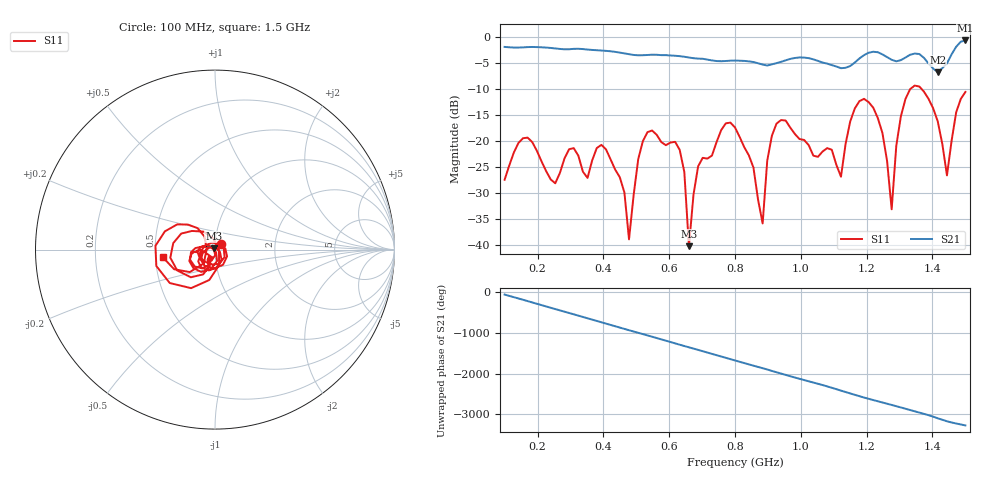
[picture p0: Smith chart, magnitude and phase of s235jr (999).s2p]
! NanoVNA-App
! Date: 2025-09-25 15:11:56
! Start: 100MHz Stop: 1,5GHz Points: 101
! S-Parameter data: F S11 S21 S12 S22
# Hz S RI R 50
!  Frequency  S11_Real  S11_Imag  S21_Real  S21_Imag  S12_Real  S12_Imag  S22_Real  S22_Imag
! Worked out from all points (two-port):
!   101 points, 100 MHz to 1.5 GHz, reference 50 ohm
!   highest |S21| = -0.72 dB at 1.5 GHz (marker M1); lowest = -6.8 dB at 1.416 GHz (marker M2)
!   |S21| within 3 dB of the highest: start of sweep to 629.5 MHz; 1.188 GHz to 1.257 GHz (68.63 MHz wide, 5.61 % of centre) (the widest 2 of 4)
!   lowest |S11| = -40.2 dB at 660 MHz (marker M3), VSWR 1.02, Z = 49.3 + j0.63 ohm
!   |S11| at or under -10 dB: start of sweep to 1.333 GHz; 1.366 GHz to end of sweep
!   S12 and S22 are empty: the file has one direction only
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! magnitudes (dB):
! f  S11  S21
! 100 MHz  -27.5  -2.0
! 170 MHz  -19.4  -2.0
! 338 MHz  -25.9  -2.4
! 408 MHz  -21.6  -2.7
! 478 MHz  -38.9  -3.4
! 520 MHz  -20.1  -3.6
! 576 MHz  -20.2  -3.5
! 632 MHz  -21.7  -3.7
! 660 MHz  -40.2  -4.0
! 688 MHz  -24.9  -4.2
! 800 MHz  -17.4  -4.6
! 884 MHz  -35.9  -5.4
! 926 MHz  -16.7  -5.1
! 1.038 GHz  -22.8  -4.4
! 1.122 GHz  -26.9  -6.1
! 1.192 GHz  -11.9  -3.5
! 1.248 GHz  -18.5  -3.4
! 1.276 GHz  -33.1  -4.4
! 1.332 GHz  -10.1  -3.5
! 1.416 GHz  -16.3  -6.8
! 1.444 GHz  -26.6  -5.1
! 1.5 GHz  -10.6  -0.7
